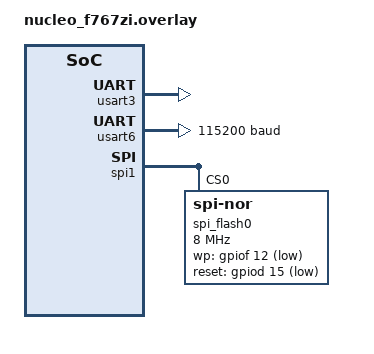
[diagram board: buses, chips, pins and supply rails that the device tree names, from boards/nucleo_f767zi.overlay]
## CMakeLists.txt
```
# SPDX-License-Identifier: Apache-2.0
cmake_minimum_required(VERSION 3.20.0)

set(BOARD_ROOT ${CMAKE_CURRENT_LIST_DIR}/../..)
set(KCONFIG_ROOT ${CMAKE_CURRENT_LIST_DIR}/Kconfig)

if(BOARD STREQUAL "nucleo_f767zi")
	set(DTC_OVERLAY_FILE ${CMAKE_CURRENT_LIST_DIR}/boards/nucleo_f767zi.overlay)
elseif(BOARD STREQUAL "nucleo_wb55rg")
	set(DTC_OVERLAY_FILE
		${CMAKE_CURRENT_LIST_DIR}/app.overlay
		${CMAKE_CURRENT_LIST_DIR}/boards/nucleo_wb55rg.overlay)
elseif(BOARD STREQUAL "ef800")
	set(DTC_OVERLAY_FILE
		${CMAKE_CURRENT_LIST_DIR}/../ef800-hwdebug/app.overlay
		${CMAKE_CURRENT_LIST_DIR}/boards/ef800.overlay)
endif()

find_package(Zephyr REQUIRED HINTS $ENV{ZEPHYR_BASE})
project(ef800_isolation_spike)

target_sources(app PRIVATE src/main.c src/usb_cdc_host.c)

if(CONFIG_EF800_SPIKE_USB_CDC_TEST)
	set(PM_PLUGIN_MANAGER_ROOT "${ZEPHYR_BASE}/../modules/lib/PluginManager")
	set(PM_DUMMY_BUILD_DIR "${CMAKE_CURRENT_BINARY_DIR}/dummy-plugin")
	set(PM_DUMMY_PLUGIN_OBJECT "${PM_DUMMY_BUILD_DIR}/dummy_plugin.o")
	set(PM_DUMMY_PLUGIN_ELF "${PM_DUMMY_BUILD_DIR}/dummy_plugin.elf")
	set(PM_DUMMY_PACKAGE_TOOL "${PM_DUMMY_BUILD_DIR}/plugin_manager_package_tool")
	set(PM_DUMMY_PACKAGE "${PM_DUMMY_BUILD_DIR}/dummy_plugin.pmp")
	set(PM_DUMMY_PACKAGE_SOURCE "${PM_DUMMY_BUILD_DIR}/dummy_plugin_package.c")
	set(PM_DUMMY_LINKER_SCRIPT "${PM_DUMMY_BUILD_DIR}/dummy_plugin_memory.ld")
	find_program(PM_HOST_C_COMPILER NAMES cc gcc REQUIRED)
	target_sources(app PRIVATE src/pm_dummy_plugin_host.c)

	configure_file(
		${CMAKE_CURRENT_LIST_DIR}/dummy_plugin/memory.ld.in
		${PM_DUMMY_LINKER_SCRIPT} @ONLY)

	add_custom_command(
		OUTPUT ${PM_DUMMY_PLUGIN_ELF}
		COMMAND ${CMAKE_COMMAND} -E make_directory ${PM_DUMMY_BUILD_DIR}
		COMMAND ${CMAKE_C_COMPILER}
			-mcpu=cortex-m4 -mthumb -mfloat-abi=soft -ffreestanding
			-fno-builtin -fno-common -ffunction-sections -fdata-sections
			-I${PM_PLUGIN_MANAGER_ROOT}/include
			-I${CMAKE_CURRENT_LIST_DIR}/dummy_plugin
			-c ${CMAKE_CURRENT_LIST_DIR}/dummy_plugin/plugin.c
			-o ${PM_DUMMY_PLUGIN_OBJECT}
		COMMAND ${CMAKE_C_COMPILER}
			-mcpu=cortex-m4 -mthumb -mfloat-abi=soft
			-r -nostdlib -nostartfiles -nodefaultlibs
			-T${PM_DUMMY_LINKER_SCRIPT} -Wl,--emit-relocs
			-o ${PM_DUMMY_PLUGIN_ELF} ${PM_DUMMY_PLUGIN_OBJECT}
		DEPENDS
			${CMAKE_CURRENT_LIST_DIR}/dummy_plugin/plugin.c
			${CMAKE_CURRENT_LIST_DIR}/dummy_plugin/dummy_plugin_api.h
			${PM_DUMMY_LINKER_SCRIPT}
		VERBATIM)

	add_custom_command(
		OUTPUT ${PM_DUMMY_PACKAGE_TOOL}
		COMMAND ${CMAKE_COMMAND} -E make_directory ${PM_DUMMY_BUILD_DIR}
		COMMAND ${PM_HOST_C_COMPILER} -std=c11
			-I${PM_PLUGIN_MANAGER_ROOT}/include
			${PM_PLUGIN_MANAGER_ROOT}/tests/package_tool.c
			${PM_PLUGIN_MANAGER_ROOT}/src/plugin_package.c
			-o ${PM_DUMMY_PACKAGE_TOOL}
		DEPENDS
			${PM_PLUGIN_MANAGER_ROOT}/tests/package_tool.c
			${PM_PLUGIN_MANAGER_ROOT}/src/plugin_package.c
		VERBATIM)

	add_custom_command(
		OUTPUT ${PM_DUMMY_PACKAGE}
		COMMAND ${PM_DUMMY_PACKAGE_TOOL} ${PM_DUMMY_PLUGIN_ELF} ${PM_DUMMY_PACKAGE}
		DEPENDS ${PM_DUMMY_PLUGIN_ELF} ${PM_DUMMY_PACKAGE_TOOL}
		VERBATIM)

	add_custom_command(
		OUTPUT ${PM_DUMMY_PACKAGE_SOURCE}
		COMMAND ${Python3_EXECUTABLE}
			${CMAKE_CURRENT_LIST_DIR}/dummy_plugin/embed_package.py
			${PM_DUMMY_PACKAGE} ${PM_DUMMY_PACKAGE_SOURCE}
		DEPENDS
			${PM_DUMMY_PACKAGE}
			${CMAKE_CURRENT_LIST_DIR}/dummy_plugin/embed_package.py
		VERBATIM)
	target_sources(app PRIVATE ${PM_DUMMY_PACKAGE_SOURCE})
endif()

if(CONFIG_EF800_SPIKE_EXTERNAL_SRAM)
	zephyr_linker_sources(RAM_SECTIONS
		${CMAKE_CURRENT_LIST_DIR}/plugin-sections-external.ld)
else()
	zephyr_linker_sources(RAM_SECTIONS ${CMAKE_CURRENT_LIST_DIR}/plugin-sections.ld)
endif()
```

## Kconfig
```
# SPDX-License-Identifier: Apache-2.0

menu "EF800 isolation fault-injection spike"

config EF800_SPIKE_FAULT_MODE
	int "User-worker fault to inject"
	range 0 16
	default 0
	help
	  Select one isolated worker fault for the dedicated MPU validation image:
	  0 runs the normal access test, 1 reads protected host RAM, 2 writes
	  protected host RAM, 3 executes from RW/XN data, 4 executes UDF, 5 writes
	  directly to the worker's MPU stack guard, 6 overflows the worker stack,
	  7 starts the USB-CDC plugin lifecycle test console, 8 faults in privileged
	  thread context, 9 faults in an ISR, 10 faults again while classifying a
	  worker fault, 11 faults in the user worker outside the plugin image,
	  12 writes RO constants, 13 executes from the RW mailbox, 14 reads a kernel
	  object, 15 reads MMIO, and 16 reads an unmapped plugin-sized buffer.

config EF800_SPIKE_USB_CDC_TEST
	bool
	default y if BOARD_NUCLEO_WB55RG && EF800_SPIKE_FAULT_MODE = 7
	select COMMON_LIBC_MALLOC
	select COMMON_LIBC_CALLOC
	select USB_DEVICE_STACK_NEXT
	select USBD_CDC_ACM_CLASS
	select UART_LINE_CTRL
	help
	  Enable the temporary WB55 USER_USB CDC ACM host/test interface.

config EF800_SPIKE_EXTERNAL_SRAM
	bool "Place MPU test partitions in EF800 external SRAM"
	default y if BOARD_EF800
	depends on BOARD_EF800
	help
	  Use explicitly assigned, MPU-aligned subregions of FMC SRAM for the
	  plugin text, RO, RW, unmapped, and mailbox regions. FMC must be ready
	  before the test accesses these regions.

config COMMON_LIBC_MALLOC_ARENA_SIZE
	default 65536 if EF800_SPIKE_USB_CDC_TEST

endmenu

source "Kconfig.zephyr"
```

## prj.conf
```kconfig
# SPDX-License-Identifier: Apache-2.0

CONFIG_USERSPACE=y
CONFIG_ARM_MPU=y
CONFIG_HW_STACK_PROTECTION=y
CONFIG_EXECUTE_XOR_WRITE=y
CONFIG_THREAD_STACK_INFO=y
CONFIG_THREAD_MONITOR=y
CONFIG_THREAD_LOCAL_STORAGE=n
CONFIG_PICOLIBC=n
CONFIG_MINIMAL_LIBC=y
CONFIG_ASSERT=y
CONFIG_PRINTK=y
CONFIG_CONSOLE=y
CONFIG_SERIAL=y
CONFIG_UART_CONSOLE=y
CONFIG_EXCEPTION_DEBUG=y
CONFIG_REBOOT=y
CONFIG_USE_DT_CODE_PARTITION=y
CONFIG_MAIN_STACK_SIZE=2048
CONFIG_SYSTEM_WORKQUEUE_STACK_SIZE=1024
```

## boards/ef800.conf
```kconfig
# SPDX-License-Identifier: Apache-2.0

CONFIG_USE_DT_CODE_PARTITION=n
CONFIG_FLASH_LOAD_OFFSET=0x0
CONFIG_FLASH=y
CONFIG_FLASH_MAP=y
CONFIG_USERSPACE=y
CONFIG_ARM_MPU=y
CONFIG_EXECUTE_XOR_WRITE=y
CONFIG_THREAD_STACK_INFO=y
CONFIG_THREAD_MONITOR=y
CONFIG_EXCEPTION_DEBUG=y
CONFIG_MEMC=y
CONFIG_PINCTRL=y
CONFIG_CLOCK_CONTROL=y
CONFIG_GPIO=y
```

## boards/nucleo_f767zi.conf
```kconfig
# SPDX-License-Identifier: Apache-2.0

CONFIG_SERIAL=y
CONFIG_UART_CONSOLE=y
CONFIG_CONSOLE=y
CONFIG_UART_INTERRUPT_DRIVEN=y

# The spike uses four explicit domain partitions plus a userspace stack. The
# F767ZI has eight MPU regions; disable the extra stack-guard region so the
# domain fits while retaining userspace, MPU, and execute-XOR-write checks.
CONFIG_MPU_STACK_GUARD=n
CONFIG_HW_STACK_PROTECTION=n
CONFIG_THREAD_LOCAL_STORAGE=n
CONFIG_GPIO=y
CONFIG_SPI=y
CONFIG_FLASH=y
CONFIG_FLASH_PAGE_LAYOUT=y
CONFIG_SPI_NOR=y
```

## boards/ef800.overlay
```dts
/ {
	chosen {
		zephyr,code-partition = &main_partition;
	};
};
```

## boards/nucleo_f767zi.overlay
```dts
/* SPDX-License-Identifier: Apache-2.0 */

/ {
	chosen {
		zephyr,console = &usart3;
		zephyr,shell-uart = &usart3;
	};
};

/* USART3 is the ST-LINK/VCP console on the NUCLEO-F767ZI. */
&usart3 {
	status = "okay";
};

/* USART6 is the auxiliary UART routed to the Morpho/header pins. */
&usart6 {
	status = "okay";
	current-speed = <115200>;
};

/* Arduino R3 SPI flash wiring: D10=CS, D11=MOSI, D12=MISO, D13=SCK. */
&spi1 {
	status = "okay";

	spi_flash0: flash@0 {
		compatible = "jedec,spi-nor";
		reg = <0>;
		spi-max-frequency = <8000000>;
		wp-gpios = <&gpiof 12 GPIO_ACTIVE_LOW>; /* D8, WP# */
		reset-gpios = <&gpiod 15 GPIO_ACTIVE_LOW>; /* D9, RESET# */
		status = "okay";
	};
};
```

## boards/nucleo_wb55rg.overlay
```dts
/* SPDX-License-Identifier: Apache-2.0 */

&zephyr_udc0 {
	cdc_acm_uart0: cdc_acm_uart0 {
		compatible = "zephyr,cdc-acm-uart";
		label = "EF800 isolation test CDC ACM";
		status = "okay";
	};
};
```

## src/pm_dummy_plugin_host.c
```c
/* SPDX-License-Identifier: Apache-2.0 */

#include "pm_dummy_plugin_host.h"

#if CONFIG_EF800_SPIKE_USB_CDC_TEST

#include <errno.h>
#include <string.h>

#include <zephyr/kernel.h>
#include <zephyr/sys/printk.h>

#include "plugin_manager/plugin_descriptor.h"
#include "plugin_manager/plugin_elf.h"
#include "plugin_manager/plugin_manager.h"
#include "plugin_manager/plugin_target_arm.h"

#define SPIKE_PM_DUMMY_PLUGIN_ID 42U
#define SPIKE_PM_DUMMY_INTERFACE_VERSION 1U
#define SPIKE_PM_DUMMY_MAX_IMAGE_SIZE 8192U
#define SPIKE_PM_DUMMY_MAX_RAM_SIZE 4096U
#define SPIKE_PM_DUMMY_DATA_SIZE 4U

extern const uint8_t ef800_spike_dummy_package[];
extern const size_t ef800_spike_dummy_package_size;

static const struct pm_plugin_interface dummy_interface = {
	.interface_id = {{ 2U }},
	.version = SPIKE_PM_DUMMY_INTERFACE_VERSION,
};

static const struct pm_application_contract dummy_contract = {
	.application_id = {{ 1U }},
	.version = 1U,
	.interfaces = &dummy_interface,
	.interface_count = 1U,
};

static struct pm_manager *manager;
static bool package_loaded;
static uint8_t *loaded_text;
static size_t loaded_text_capacity;
static uint8_t *loaded_rodata;
static size_t loaded_rodata_capacity;
static uint8_t *loaded_data;
static size_t loaded_data_capacity;

static int resolve_dummy_import(void *context, const char *name,
				uint32_t *address)
{
	volatile uint32_t *protected_host_word = context;

	if (name == NULL || address == NULL || protected_host_word == NULL) {
		return PM_EINVAL;
	}
	if (strcmp(name, "ef800_spike_test_protected_word") != 0) {
		return PM_ENOENT;
	}
	*address = (uint32_t)(uintptr_t)protected_host_word;
	return PM_OK;
}

static int convert_dummy_entry(void *context, uint32_t address,
			       enum pm_elf_entry_kind kind, void *function_out)
{
	uintptr_t text_base = (uintptr_t)context;
	uintptr_t relocated_address = text_base + (address & ~(uintptr_t)1U);

	if (function_out == NULL) {
		return PM_EINVAL;
	}
	if ((address & 1U) != 0U) {
		relocated_address |= 1U;
	}
	if (kind == PM_ELF_ENTRY_CREATE) {
		*(pm_plugin_create_fn *)function_out =
			(pm_plugin_create_fn)relocated_address;
	} else if (kind == PM_ELF_ENTRY_DESTROY) {
		*(pm_plugin_destroy_fn *)function_out =
			(pm_plugin_destroy_fn)relocated_address;
	} else {
		return PM_EINVAL;
	}
	return PM_OK;
}

static int adapt_dummy_wire_descriptor(
	const struct pm_wire_plugin_descriptor *wire,
	const struct pm_elf_image *image,
	const struct pm_package_manifest *manifest,
	const struct pm_plugin_descriptor **descriptor,
	void *context)
{
	static struct pm_plugin_descriptor bound_descriptor;
	struct pm_arm_entry_adapter adapter = {
		.executable_base = image == NULL ? 0U : image->text_address,
		.executable_size = image == NULL ? 0U : image->text_size,
		.convert = convert_dummy_entry,
		.context = context,
	};
	struct pm_descriptor_bind_config bind = {
		.resolve = pm_arm_entry_resolve,
		.context = &adapter,
	};
	int ret;

	ARG_UNUSED(manifest);
	ARG_UNUSED(context);
	if (descriptor == NULL || image == NULL ||
		pm_arm_entry_adapter_validate(&adapter, image) != PM_OK) {
		return PM_EPROTO;
	}
	ret = pm_wire_descriptor_bind(wire, image, &bind, &bound_descriptor);
	if (ret == PM_OK) {
		*descriptor = &bound_descriptor;
	}
	return ret;
}

static int ensure_manager(void)
{
	const struct pm_manager_config config = {
		.contract = &dummy_contract,
		.max_plugins = 1U,
	};

	if (manager != NULL) {
		return PM_OK;
	}
	if (pm_contract_validate(&dummy_contract) != PM_OK) {
		printk("PM dummy contract invalid\n");
		return PM_EPROTO;
	}
	manager = pm_manager_create(&config);
	if (manager == NULL) {
		printk("PM dummy manager allocation failed\n");
		return PM_ENOMEM;
	}
	return PM_OK;
}

int spike_pm_dummy_plugin_load(uint8_t *text, size_t text_capacity,
			      uint8_t *rodata, size_t rodata_capacity,
			      uint8_t *data, size_t data_capacity,
			      volatile uint32_t *protected_host_word)
{
	struct pm_elf_profile profile;
	struct pm_manager_package_config package_config;
	uint32_t plugin_id = 0U;
	int ret;

	if (text == NULL || rodata == NULL || data == NULL ||
		text_capacity == 0U || rodata_capacity == 0U ||
		data_capacity < SPIKE_PM_DUMMY_DATA_SIZE || protected_host_word == NULL) {
		return PM_EINVAL;
	}
	/* The fixture is linked for this fixed WB55 arena layout. Fail closed if
	 * a linker/configuration change moves any user-visible section. */
	ret = ensure_manager();
	if (ret != PM_OK) {
		return ret;
	}
	if (package_loaded && (loaded_text != text || loaded_rodata != rodata ||
		loaded_data != data)) {
		return PM_EBUSY;
	}

	if (!package_loaded) {
		memset(text, 0, text_capacity);
		memset(rodata, 0, rodata_capacity);
		memset(data, 0, data_capacity);
		profile = (struct pm_elf_profile){
			.max_sections = PM_ELF_MAX_SECTIONS,
			.max_image_size = SPIKE_PM_DUMMY_MAX_IMAGE_SIZE,
			.max_ram_size = SPIKE_PM_DUMMY_MAX_RAM_SIZE,
			.text_address = 0U,
			.rodata_address = 0x1000U,
			.data_address = 0x20000000U,
			.machine = PM_ELF_MACHINE_ARM,
			.relocation_type = PM_ELF_R_ARM_ABS32,
		};
		package_config = (struct pm_manager_package_config){
			.elf_profile = &profile,
			.target_architecture = PM_PACKAGE_TARGET_ARM_CORTEX_M,
			.text_storage = text,
			.text_capacity = text_capacity,
			.rodata_storage = rodata,
			.rodata_capacity = rodata_capacity,
			.data_storage = data,
			.data_capacity = SPIKE_PM_DUMMY_DATA_SIZE,
			.bss_storage = data + SPIKE_PM_DUMMY_DATA_SIZE,
			.bss_capacity = data_capacity - SPIKE_PM_DUMMY_DATA_SIZE,
			.resolve = resolve_dummy_import,
			.resolve_context = (void *)protected_host_word,
			.adapt_wire_descriptor = adapt_dummy_wire_descriptor,
			.wire_descriptor_context = text,
		};
		ret = pm_manager_load_package(manager, ef800_spike_dummy_package,
					      ef800_spike_dummy_package_size,
					      &package_config, &plugin_id);
		if (ret != PM_OK || plugin_id != SPIKE_PM_DUMMY_PLUGIN_ID) {
			printk("PM dummy package load failed ret=%d id=%u\n",
			       ret, (unsigned int)plugin_id);
			memset(text, 0, text_capacity);
			memset(rodata, 0, rodata_capacity);
			memset(data, 0, data_capacity);
			return ret == PM_OK ? PM_EPROTO : ret;
		}
		loaded_text = text;
		loaded_text_capacity = text_capacity;
		loaded_rodata = rodata;
		loaded_rodata_capacity = rodata_capacity;
		loaded_data = data;
		loaded_data_capacity = data_capacity;
		package_loaded = true;
	}

	return PM_OK;
}

int spike_pm_dummy_plugin_unload(void)
{
	int ret;

	if (!package_loaded || manager == NULL) {
		return PM_OK;
	}
	ret = pm_manager_unload(manager, SPIKE_PM_DUMMY_PLUGIN_ID);
	if (ret != PM_OK) {
		return ret;
	}
	memset(loaded_text, 0, loaded_text_capacity);
	memset(loaded_rodata, 0, loaded_rodata_capacity);
	memset(loaded_data, 0, loaded_data_capacity);
	loaded_text = NULL;
	loaded_text_capacity = 0U;
	loaded_rodata = NULL;
	loaded_rodata_capacity = 0U;
	loaded_data = NULL;
	loaded_data_capacity = 0U;
	package_loaded = false;
	return PM_OK;
}

int spike_pm_dummy_plugin_create_instance(
	const struct pm_manager_instance_executor *executor)
{
	if (manager == NULL || !package_loaded) {
		return PM_ENOENT;
	}
	return pm_manager_create_instance_with_executor(manager,
		SPIKE_PM_DUMMY_PLUGIN_ID, executor);
}

int spike_pm_dummy_plugin_destroy_instance(
	const struct pm_manager_instance_executor *executor)
{
	if (manager == NULL || !package_loaded) {
		return PM_ENOENT;
	}
	return pm_manager_destroy_instance_with_executor(manager,
		SPIKE_PM_DUMMY_PLUGIN_ID, executor);
}

int spike_pm_dummy_plugin_abandon_instance(void)
{
	if (manager == NULL || !package_loaded) {
		return PM_ENOENT;
	}
	return pm_manager_abandon_instance(manager, SPIKE_PM_DUMMY_PLUGIN_ID);
}

#else

int spike_pm_dummy_plugin_load(uint8_t *text, size_t text_capacity,
			      uint8_t *rodata, size_t rodata_capacity,
			      uint8_t *data, size_t data_capacity,
			      volatile uint32_t *protected_host_word)
{
	ARG_UNUSED(text);
	ARG_UNUSED(text_capacity);
	ARG_UNUSED(rodata);
	ARG_UNUSED(rodata_capacity);
	ARG_UNUSED(data);
	ARG_UNUSED(data_capacity);
	ARG_UNUSED(protected_host_word);
	return -ENOTSUP;
}

int spike_pm_dummy_plugin_unload(void)
{
	return -ENOTSUP;
}

int spike_pm_dummy_plugin_create_instance(
	const struct pm_manager_instance_executor *executor)
{
	ARG_UNUSED(executor);
	return -ENOTSUP;
}

int spike_pm_dummy_plugin_destroy_instance(
	const struct pm_manager_instance_executor *executor)
{
	ARG_UNUSED(executor);
	return -ENOTSUP;
}

int spike_pm_dummy_plugin_abandon_instance(void)
{
	return -ENOTSUP;
}

#endif
```

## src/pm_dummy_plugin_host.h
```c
/* SPDX-License-Identifier: Apache-2.0 */
/** @file @brief Load and exercise the isolation spike's dummy plugin. */
#ifndef EF800_SPIKE_PM_DUMMY_PLUGIN_HOST_H
#define EF800_SPIKE_PM_DUMMY_PLUGIN_HOST_H

#include <stddef.h>
#include <stdint.h>

#include "plugin_manager/plugin_abi.h"

struct pm_manager_instance_executor;

/** @brief Load dummy-plugin image sections into caller-provided memory.
 * @param text Executable text destination.
 * @param text_capacity Text capacity.
 * @param rodata Read-only data destination.
 * @param rodata_capacity Read-only capacity.
 * @param data Writable data destination.
 * @param data_capacity Writable capacity.
 * @param protected_host_word Host word used by isolation checks.
 * @return 0 on load; negative errno for invalid capacities or load failure.
 */
int spike_pm_dummy_plugin_load(uint8_t *text, size_t text_capacity,
			      uint8_t *rodata, size_t rodata_capacity,
			      uint8_t *data, size_t data_capacity,
			      volatile uint32_t *protected_host_word);

/** @brief Unload the dummy plugin after all instances have been released.
 * @return 0 on unload; negative errno when plugin remains active.
 */
int spike_pm_dummy_plugin_unload(void);

/** @brief Create a plugin instance using the supplied worker executor.
 * @param executor Instance executor/interface.
 * @return 0 on create; negative errno on manager/plugin failure.
 */
int spike_pm_dummy_plugin_create_instance(
	const struct pm_manager_instance_executor *executor);

/** @brief Destroy a live dummy-plugin instance.
 * @param executor Executor owning the instance.
 * @return 0 on destroy; negative errno on invalid state/callback failure.
 */
int spike_pm_dummy_plugin_destroy_instance(
	const struct pm_manager_instance_executor *executor);

/** @brief Abandon an instance after unsafe cleanup/fault handling.
 * @return 0 when abandoned; negative errno if no instance can be abandoned.
 */
int spike_pm_dummy_plugin_abandon_instance(void);

#endif /* EF800_SPIKE_PM_DUMMY_PLUGIN_HOST_H */
```

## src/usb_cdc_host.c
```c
/* SPDX-License-Identifier: Apache-2.0 */

#include "usb_cdc_host.h"

#include <errno.h>
#include <zephyr/kernel.h>

#if CONFIG_EF800_SPIKE_USB_CDC_TEST

#include <zephyr/device.h>
#include <zephyr/drivers/uart.h>
#include <zephyr/usb/usb_ch9.h>
#include <zephyr/usb/usbd.h>

#define SPIKE_USB_VID 0x2fe3U
#define SPIKE_USB_PID 0x8001U

static const struct device *const cdc_uart =
	DEVICE_DT_GET_ONE(zephyr_cdc_acm_uart);

USBD_DEVICE_DEFINE(spike_usbd,
	DEVICE_DT_GET(DT_NODELABEL(zephyr_udc0)),
	SPIKE_USB_VID, SPIKE_USB_PID);

USBD_DESC_LANG_DEFINE(spike_lang);
USBD_DESC_MANUFACTURER_DEFINE(spike_manufacturer, "EF800 development spike");
USBD_DESC_PRODUCT_DEFINE(spike_product, "EF800 isolation CDC test");
USBD_DESC_CONFIG_DEFINE(spike_config_desc, "CDC ACM");

USBD_CONFIGURATION_DEFINE(spike_fs_config, 0, 100, &spike_config_desc);

static const char *const class_blocklist[] = {
	"dfu_dfu",
	NULL,
};

static void usb_message_callback(struct usbd_context *const context,
				const struct usbd_msg *message)
{
	if (usbd_can_detect_vbus(context)) {
		if (message->type == USBD_MSG_VBUS_READY) {
			(void)usbd_enable(context);
		} else if (message->type == USBD_MSG_VBUS_REMOVED) {
			(void)usbd_disable(context);
		}
	}
}

int spike_usb_cdc_host_init(void)
{
	int ret;

	if (!device_is_ready(cdc_uart)) {
		return -ENODEV;
	}

	ret = usbd_add_descriptor(&spike_usbd, &spike_lang);
	if (ret != 0) {
		return ret;
	}
	ret = usbd_add_descriptor(&spike_usbd, &spike_manufacturer);
	if (ret != 0) {
		return ret;
	}
	ret = usbd_add_descriptor(&spike_usbd, &spike_product);
	if (ret != 0) {
		return ret;
	}
	ret = usbd_add_configuration(&spike_usbd, USBD_SPEED_FS,
				     &spike_fs_config);
	if (ret != 0) {
		return ret;
	}
	ret = usbd_register_all_classes(&spike_usbd, USBD_SPEED_FS, 1,
					class_blocklist);
	if (ret != 0) {
		return ret;
	}
	ret = usbd_device_set_code_triple(&spike_usbd, USBD_SPEED_FS,
					 USB_BCC_MISCELLANEOUS, 0x02, 0x01);
	if (ret != 0) {
		return ret;
	}
	usbd_self_powered(&spike_usbd, false);

	ret = usbd_msg_register_cb(&spike_usbd, usb_message_callback);
	if (ret != 0) {
		return ret;
	}
	ret = usbd_init(&spike_usbd);
	if (ret != 0) {
		return ret;
	}

	if (!usbd_can_detect_vbus(&spike_usbd)) {
		ret = usbd_enable(&spike_usbd);
		if (ret != 0) {
			return ret;
		}
	}

	return 0;
}

int spike_usb_cdc_host_read(uint8_t *byte)
{
	unsigned char value;
	int ret;

	if (byte == NULL) {
		return -EINVAL;
	}
	ret = uart_poll_in(cdc_uart, &value);
	if (ret == 0) {
		*byte = value;
		return 0;
	}

	return -EAGAIN;
}

void spike_usb_cdc_host_write(const uint8_t *data, size_t length)
{
	if (data == NULL) {
		return;
	}

	for (size_t i = 0; i < length; ++i) {
		uart_poll_out(cdc_uart, data[i]);
	}
}

#else

int spike_usb_cdc_host_init(void)
{
	return -ENOTSUP;
}

int spike_usb_cdc_host_read(uint8_t *byte)
{
	ARG_UNUSED(byte);
	return -ENOTSUP;
}

void spike_usb_cdc_host_write(const uint8_t *data, size_t length)
{
	ARG_UNUSED(data);
	ARG_UNUSED(length);
}

#endif
```

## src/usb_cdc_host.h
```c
/* SPDX-License-Identifier: Apache-2.0 */
/** @file @brief Host-side USB CDC transport for the isolation spike. */
#ifndef EF800_ISOLATION_SPIKE_USB_CDC_HOST_H
#define EF800_ISOLATION_SPIKE_USB_CDC_HOST_H

#include <stddef.h>
#include <stdint.h>

/** @brief Initialize USB host and wait for a CDC ACM peripheral.
 * @return 0 on setup; negative errno if host initialization fails.
 */
int spike_usb_cdc_host_init(void);

/** @brief Read one byte from the connected CDC ACM device.
 * @param byte Receives the byte read.
 * @return 0 on read; negative errno when no data/device is available.
 */
int spike_usb_cdc_host_read(uint8_t *byte);

/** @brief Write a byte range to the connected CDC ACM device.
 * @param data Bytes to transmit.
 * @param length Byte count.
 * @return None; transport errors are reported by the host console.
 */
void spike_usb_cdc_host_write(const uint8_t *data, size_t length);

#endif /* EF800_ISOLATION_SPIKE_USB_CDC_HOST_H */
```
